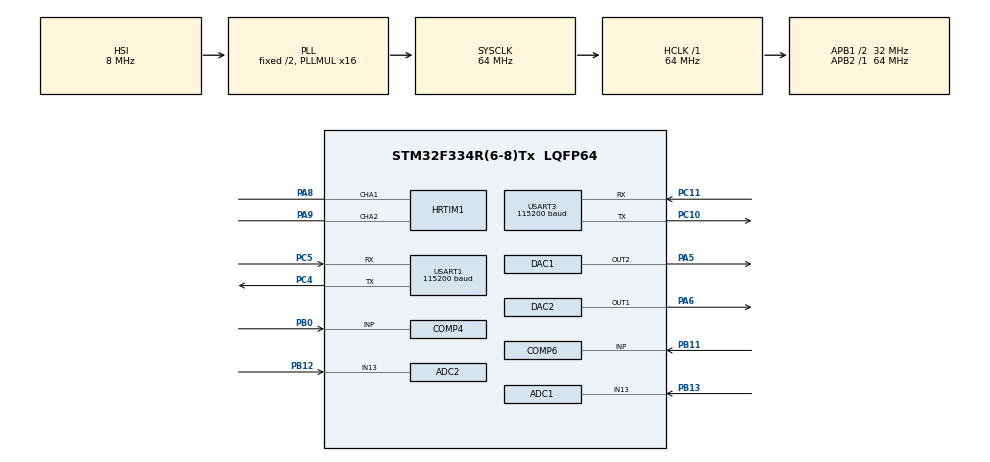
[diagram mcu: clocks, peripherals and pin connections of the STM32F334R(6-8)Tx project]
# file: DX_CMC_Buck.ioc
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ADC1.Channel-0\#ChannelRegularConversion=ADC_CHANNEL_13
ADC1.ClockPrescaler=ADC_CLOCK_SYNC_PCLK_DIV1
ADC1.ContinuousConvMode=DISABLE
ADC1.DMAContinuousRequests=ENABLE
ADC1.ExternalTrigConv=ADC_EXTERNALTRIGCONVHRTIM_TRG1
ADC1.NbrOfConversion=1
ADC1.NbrOfConversionFlag=1
ADC1.Offset-0\#ChannelRegularConversion=0
ADC1.OffsetNumber-0\#ChannelRegularConversion=ADC_OFFSET_NONE
ADC1.Rank-0\#ChannelRegularConversion=1
ADC1.SamplingTime-0\#ChannelRegularConversion=ADC_SAMPLETIME_7CYCLES_5
ADC1.SamplingTimeOPAMP-0\#ChannelRegularConversion=ADC_SAMPLETIME_61CYCLES_5
ADC1.SubFamily=STM32F334x8
ADC1.master=1
ADC2.Channel-0\#ChannelRegularConversion=ADC_CHANNEL_13
ADC2.ClockPrescaler=ADC_CLOCK_SYNC_PCLK_DIV1
ADC2.DMAContinuousRequests=ENABLE
ADC2.ExternalTrigConv=ADC_EXTERNALTRIGCONVHRTIM_TRG1
ADC2.InjNumberOfConversion=0
ADC2.NbrOfConversion=1
ADC2.NbrOfConversionFlag=1
ADC2.Offset-0\#ChannelRegularConversion=0
ADC2.OffsetNumber-0\#ChannelRegularConversion=ADC_OFFSET_NONE
ADC2.Rank-0\#ChannelRegularConversion=1
ADC2.SamplingTime-0\#ChannelRegularConversion=ADC_SAMPLETIME_7CYCLES_5
COMP4.InvertingInput=COMP_INVERTINGINPUT_DAC1_CH2
COMP4.OutputPol=COMP_OUTPUTPOL_NONINVERTED
COMP4.TriggerMode=COMP_TRIGGERMODE_IT_RISING
COMP6.InvertingInput=COMP_INVERTINGINPUT_DAC2_CH1
COMP6.OutputPol=COMP_OUTPUTPOL_NONINVERTED
COMP6.TriggerMode=COMP_TRIGGERMODE_NONE
Dma.ADC1.0.Direction=DMA_PERIPH_TO_MEMORY
Dma.ADC1.0.Instance=DMA1_Channel1
Dma.ADC1.0.MemDataAlignment=DMA_MDATAALIGN_HALFWORD
Dma.ADC1.0.MemInc=DMA_MINC_ENABLE
Dma.ADC1.0.Mode=DMA_CIRCULAR
Dma.ADC1.0.PeriphDataAlignment=DMA_PDATAALIGN_HALFWORD
Dma.ADC1.0.PeriphInc=DMA_PINC_DISABLE
Dma.ADC1.0.Priority=DMA_PRIORITY_HIGH
Dma.ADC2.1.Direction=DMA_PERIPH_TO_MEMORY
Dma.ADC2.1.Instance=DMA1_Channel4
Dma.ADC2.1.MemDataAlignment=DMA_MDATAALIGN_HALFWORD
Dma.ADC2.1.MemInc=DMA_MINC_ENABLE
Dma.ADC2.1.Mode=DMA_CIRCULAR
Dma.ADC2.1.PeriphDataAlignment=DMA_PDATAALIGN_HALFWORD
Dma.ADC2.1.PeriphInc=DMA_PINC_DISABLE
Dma.ADC2.1.Priority=DMA_PRIORITY_HIGH
Dma.Request0=ADC1
Dma.Request1=ADC2
Dma.Request2=USART3_TX
Dma.USART3_TX.2.Direction=DMA_MEMORY_TO_PERIPH
Dma.USART3_TX.2.Instance=DMA1_Channel2
Dma.USART3_TX.2.MemDataAlignment=DMA_MDATAALIGN_BYTE
Dma.USART3_TX.2.MemInc=DMA_MINC_ENABLE
Dma.USART3_TX.2.Mode=DMA_CIRCULAR
Dma.USART3_TX.2.PeriphDataAlignment=DMA_PDATAALIGN_BYTE
Dma.USART3_TX.2.PeriphInc=DMA_PINC_DISABLE
Dma.USART3_TX.2.Priority=DMA_PRIORITY_VERY_HIGH
HRTIM1.ADCTrigger1_Source1=HRTIM_ADCTRIGGEREVENT13_TIMERA_CMP2
HRTIM1.ADCTrigger_Id1=HRTIM_ADCTRIGGER_1
HRTIM1.ADCTrigger_Id2=__NULL
HRTIM1.AutoDelayedMode2-Output_TA1TA2=HRTIM_AUTODELAYEDMODE_REGULAR
HRTIM1.CompareUnit1-Output_TA1TA2=HRTIM_COMPAREUNIT_1
HRTIM1.CompareUnit2-Output_TA1TA2=HRTIM_COMPAREUNIT_2
HRTIM1.CompareUnit3-Output_TA1TA2=HRTIM_COMPAREUNIT_3
HRTIM1.CompareValue1-Output_TA1TA2=5120
HRTIM1.CompareValue2-Output_TA1TA2=10240
HRTIM1.CompareValue3-Output_TA1TA2=15360
HRTIM1.DeadTimeInsertion-Output_TA1TA2=HRTIM_TIMDEADTIMEINSERTION_ENABLED
HRTIM1.FallingValue-Output_TA1TA2=100
HRTIM1.FaultEnable_Source1-Output_TA1TA2=HRTIM_TIMFAULTENABLE_FAULT3
HRTIM1.FaultLevel1-Output_TA1TA2=HRTIM_OUTPUTFAULTLEVEL_INACTIVE
HRTIM1.FaultLevel2-Output_TA1TA2=HRTIM_OUTPUTFAULTLEVEL_INACTIVE
HRTIM1.Fault_Line1=__NULL
HRTIM1.Fault_Line2=__NULL
HRTIM1.Fault_Line3=HRTIM_FAULT_3
HRTIM1.NumberADCTriggerSource1=1
HRTIM1.NumberFaultEnable-Output_TA1TA2=1
HRTIM1.NumberInterruptRequests-Output_TA1TA2=0
HRTIM1.NumberResetSource1-Output_TA1TA2=1
HRTIM1.NumberResetSource2_TA=0
HRTIM1.NumberSetSource1-Output_TA1TA2=1
HRTIM1.NumberUpdateTrigger-Output_TA1TA2=0
HRTIM1.Periode_TA=20480
HRTIM1.Polarity2-Output_TA1TA2=HRTIM_OUTPUTPOLARITY_HIGH
HRTIM1.Polarity_FaultLine3=HRTIM_FAULTPOLARITY_HIGH
HRTIM1.PrescalerRatio_TA=HRTIM_PRESCALERRATIO_MUL32
HRTIM1.RepetitionCounter-Output_TA1TA2=3
HRTIM1.RepetitionUpdate-Output_TA1TA2=HRTIM_UPDATEONREPETITION_ENABLED
HRTIM1.ResetOutput1_Source1-Output_TA1TA2=HRTIM_OUTPUTRESET_TIMCMP3
HRTIM1.RisingValue-Output_TA1TA2=100
HRTIM1.SetOutput1_Source1-Output_TA1TA2=HRTIM_OUTPUTSET_TIMCMP1
Mcu.Family=STM32F3
Mcu.Name=STM32F334R(6-8)Tx
Mcu.Package=LQFP64
NVIC.ADC1_2_IRQn=true\:0\:0\:false\:false\:true\:true\:true\:true
NVIC.COMP4_6_IRQn=true\:0\:0\:false\:false\:true\:false\:true\:true
NVIC.DMA1_Channel1_IRQn=true\:0\:0\:false\:false\:true\:false\:true\:true
NVIC.DMA1_Channel2_IRQn=true\:0\:0\:false\:false\:true\:false\:true\:true
NVIC.DMA1_Channel4_IRQn=true\:0\:0\:false\:false\:true\:false\:true\:true
NVIC.HRTIM1_FLT_IRQn=true\:0\:0\:false\:false\:true\:true\:true\:true
NVIC.HRTIM1_TIMA_IRQn=true\:0\:0\:false\:false\:true\:true\:true\:true
NVIC.PriorityGroup=NVIC_PRIORITYGROUP_4
NVIC.USART1_IRQn=true\:0\:0\:false\:false\:true\:false\:true\:true
NVIC.USART3_IRQn=true\:0\:0\:false\:false\:true\:true\:true\:true
PA13.Mode=Serial_Wire
PA13.Signal=SYS_JTMS-SWDIO
PA14.Mode=Serial_Wire
PA14.Signal=SYS_JTCK-SWCLK
PA5.Signal=COMP_DAC12_group
PA6.Signal=COMP_DAC21_group
PA8.Mode=Output_TA1TA2
PA8.Signal=HRTIM1_CHA1
PA9.Mode=Output_TA1TA2
PA9.Signal=HRTIM1_CHA2
PB0.Mode=INP
PB0.Signal=COMP4_INP
PB11.Mode=INP
PB11.Signal=COMP6_INP
PB12.Mode=IN13-Single-Ended
PB12.Signal=ADC2_IN13
PB13.Mode=IN13-Single-Ended
PB13.Signal=ADC1_IN13
PC10.Mode=Asynchronous
PC10.Signal=USART3_TX
PC11.Mode=Asynchronous
PC11.Signal=USART3_RX
PC4.Mode=Asynchronous
PC4.Signal=USART1_TX
PC5.Mode=Asynchronous
PC5.Signal=USART1_RX
ProjectManager.HeapSize=0x200
ProjectManager.StackSize=0x400
ProjectManager.TargetToolchain=CMake
RCC.AHBFreq_Value=64000000
RCC.APB1CLKDivider=RCC_HCLK_DIV2
RCC.APB1Freq_Value=32000000
RCC.APB1TimFreq_Value=64000000
RCC.APB2Freq_Value=64000000
RCC.APB2TimFreq_Value=64000000
RCC.CortexFreq_Value=64000000
RCC.HCLKFreq_Value=64000000
RCC.HRTIMSelection=RCC_HRTIM1CLK_PLLCLK
RCC.HSE_VALUE=8000000
RCC.HSI_VALUE=8000000
RCC.LSE_VALUE=32768
RCC.PLLMUL=RCC_PLL_MUL16
RCC.SYSCLKFreq_VALUE=64000000
RCC.SYSCLKSourceVirtual=RCC_SYSCLKSOURCE_PLLCLK
SH.COMP_DAC12_group.0=DAC1_OUT2,DAC_OUT2
SH.COMP_DAC21_group.0=DAC2_OUT1,Switch_Enable_OUT1
USART1.BaudRate=115200
USART1.VirtualMode-Asynchronous=VM_ASYNC
USART3.BaudRate=115200
USART3.VirtualMode-Asynchronous=VM_ASYNC
VP_COMP4_VS_DAC1OUT2.Mode=INM_DAC1OUT2
VP_COMP6_VS_DAC2OUT1.Mode=INM_DAC2OUT1
board=custom

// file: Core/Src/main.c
/* USER CODE BEGIN Header */
/**
  ******************************************************************************
  * @file           : main.c
  * @brief          : Main program body
  ******************************************************************************
  * @attention
  *
  * Copyright (c) 2026 STMicroelectronics.
  * All rights reserved.
  *
  * This software is licensed under terms that can be found in the LICENSE file
  * in the root directory of this software component.
  * If no LICENSE file comes with this software, it is provided AS-IS.
  *
  ******************************************************************************
  */
/* USER CODE END Header */
#include "main.h"
#include "adc.h"
#include "comp.h"
#include "dac.h"
#include "dma.h"
#include "hrtim.h"
#include "usart.h"
#include "gpio.h"

/* USER CODE BEGIN Includes */
#include "MyDAC.h"
#include <MyADC.h>
#include <Mycomp.h>
#include <Myhrtim.h>
#include <string.h>
#include <BSP_Uart.h>
#include <PID.h>
#include <protect.h>
/* USER CODE END Includes */

/* USER CODE BEGIN PV */

// char a[] = "hello world\r\n";
// uint16_t voltage = 2048;

/* USER CODE END PV */

void SystemClock_Config(void);

int main(void)
{

  /* MCU Configuration--------------------------------------------------------*/

  /* Reset of all peripherals, Initializes the Flash interface and the Systick. */
  HAL_Init();

  /* Configure the system clock */
  SystemClock_Config();

  /* Initialize all configured peripherals */
  HAL_Delay(100);
  MX_GPIO_Init();
  MX_DMA_Init();
  MX_HRTIM1_Init();
  MX_ADC1_Init();
  MX_ADC2_Init();
  MX_COMP4_Init();
  MX_COMP6_Init();
  MX_DAC1_Init();
  MX_DAC2_Init();
  MX_USART1_UART_Init();
  MX_USART3_UART_Init();
  /* USER CODE BEGIN 2 */
  HAL_Delay(100); // 等待外设稳定
  PID_Init(&PID_volt);  //PID初始话
  ADC_DMA_Start(&ADC_Voltage);  //ADC启动 DMA传输
  HRTIM_Start();  //  启动HRTIM定时器和输出
  // DAC_Start(&DAC_Volt);  //DAC启动
  // COMP_Start(); //比较器启动

  uint32_t vofa_tick = 0;   //电压数据发送定时器
  uint32_t protect_tick = 0;  //触发保护检测的定时器

  // Set_DAC_Value_volt(26.0f, &DAC_Volt);   //过压保护阈值设置
  // HAL_UART_Receive_IT(&huart3, &uart3_rx_byte, sizeof(uart3_rx_buf));
  /* USER CODE END 2 */

  /* Infinite loop */
  while (1)
  {

    /* USER CODE BEGIN 3 */

    /*=======保护状态检测========*/
    // if (PID_volt.PID_OVP_Flag || PID_volt.PID_OCP_Flag) {
    //   if (HAL_GetTick() - protect_tick >= 100) {
    //     /*=======电压保护状态检测========*/
    //     if (PID_volt.PID_OVP_Flag)
    //     {
    //       OVP_Check();
    //     }
    //     /*=======电流保护状态检测========*/
    //     // if (PID_volt.PID_OCP_Flag){
    //     //     OCP_Check();
    //     // }
    //     if (!PID_volt.PID_OVP_Flag && !PID_volt.PID_OCP_Flag) {
    //       __HAL_HRTIM_CLEAR_FLAG(&hhrtim1, HRTIM_FLAG_FLT3);
    //       HAL_HRTIM_WaveformOutputStart(&hhrtim1,
    //         HRTIM_OUTPUT_TA1 | HRTIM_OUTPUT_TA2);
    //
    //     }
    //   }
    // }

    /*=========PID控制===========*/
    if (!PID_volt.PID_OVP_Flag && !PID_volt.PID_OCP_Flag)
    {
      if (PID_volt.PID_Flag) {
          PID_volt.PID_Flag = 0;
          PID_control_volt(&PID_volt);
      }
    }

    /*==串口数据低频发送，比如 20ms 一次，也就是 50Hz==*/
    if (HAL_GetTick() - vofa_tick >= 2)
    {
      vofa_tick = HAL_GetTick();

      Send_Buck_Volt_date(ADC_Voltage.ADC_Buf[0]);
    }
  }
  /* USER CODE END 3 */
}

void SystemClock_Config(void)
{
  RCC_OscInitTypeDef RCC_OscInitStruct = {0};
  RCC_ClkInitTypeDef RCC_ClkInitStruct = {0};
  RCC_PeriphCLKInitTypeDef PeriphClkInit = {0};

  /** Initializes the RCC Oscillators according to the specified parameters
  * in the RCC_OscInitTypeDef structure.
  */
  RCC_OscInitStruct.OscillatorType = RCC_OSCILLATORTYPE_HSI;
  RCC_OscInitStruct.HSIState = RCC_HSI_ON;
  RCC_OscInitStruct.HSICalibrationValue = RCC_HSICALIBRATION_DEFAULT;
  RCC_OscInitStruct.PLL.PLLState = RCC_PLL_ON;
  RCC_OscInitStruct.PLL.PLLSource = RCC_PLLSOURCE_HSI;
  RCC_OscInitStruct.PLL.PLLMUL = RCC_PLL_MUL16;
  if (HAL_RCC_OscConfig(&RCC_OscInitStruct) != HAL_OK)
  {
    Error_Handler();
  }

  /** Initializes the CPU, AHB and APB buses clocks
  */
  RCC_ClkInitStruct.ClockType = RCC_CLOCKTYPE_HCLK|RCC_CLOCKTYPE_SYSCLK
                              |RCC_CLOCKTYPE_PCLK1|RCC_CLOCKTYPE_PCLK2;
  RCC_ClkInitStruct.SYSCLKSource = RCC_SYSCLKSOURCE_PLLCLK;
  RCC_ClkInitStruct.AHBCLKDivider = RCC_SYSCLK_DIV1;
  RCC_ClkInitStruct.APB1CLKDivider = RCC_HCLK_DIV2;
  RCC_ClkInitStruct.APB2CLKDivider = RCC_HCLK_DIV1;

  if (HAL_RCC_ClockConfig(&RCC_ClkInitStruct, FLASH_LATENCY_2) != HAL_OK)
  {
    Error_Handler();
  }
  PeriphClkInit.PeriphClockSelection = RCC_PERIPHCLK_HRTIM1|RCC_PERIPHCLK_USART1;
  PeriphClkInit.Usart1ClockSelection = RCC_USART1CLKSOURCE_PCLK1;
  PeriphClkInit.Hrtim1ClockSelection = RCC_HRTIM1CLK_PLLCLK;
  if (HAL_RCCEx_PeriphCLKConfig(&PeriphClkInit) != HAL_OK)
  {
    Error_Handler();
  }
}

void Error_Handler(void)
{
  __disable_irq();
  while (1)
  {
  }
}
